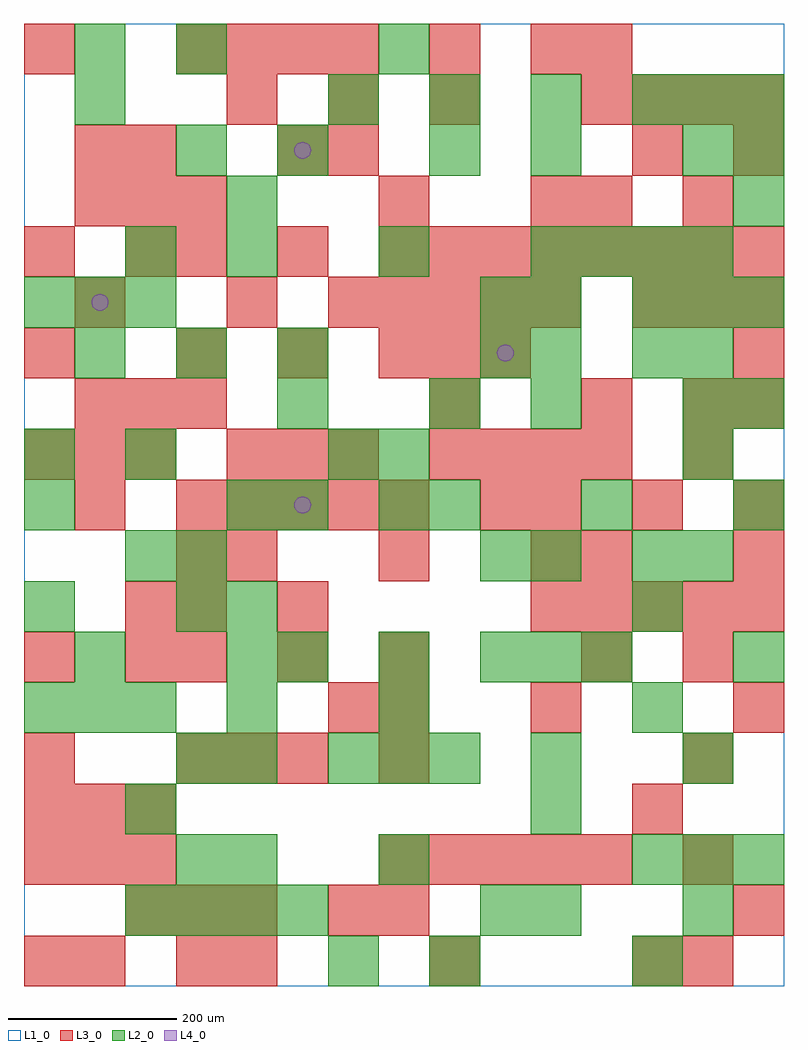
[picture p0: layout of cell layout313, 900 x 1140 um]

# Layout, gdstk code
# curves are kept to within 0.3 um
import gdstk
lib = gdstk.Library(unit=1e-6, precision=1e-09)
def R(c, l, rs):  # rectangles x0, y0, x1, y1
    for r in rs: c.add(gdstk.rectangle(r[:2], r[2:], *l))
def A(c, l, x, y, w, h, nx, ny, dx, dy):  # array of equal rectangles
    R(c, l, [(x+i*dx, y+j*dy, x+i*dx+w, y+j*dy+h) for i in range(nx) for j in range(ny)])
def P(c, l, *ps):  # polygons
    for p in ps: c.add(gdstk.Polygon(p, *l))
L1_0 = (1, 0)
L2_0 = (2, 0)
L3_0 = (3, 0)
L4_0 = (4, 0)

layout313 = lib.new_cell('layout313')
R(layout313, L1_0, [(0,0,900,1140)])
A(layout313, L2_0, 120, 60, 60, 60, 4, 1, 60, 0)
A(layout313, L2_0, 720, 120, 60, 60, 3, 2, 60, 660)
A(layout313, L2_0, 240, 240, 60, 60, 1, 4, 0, 60)
A(layout313, L2_0, 360, 240, 60, 60, 3, 1, 60, 0)
A(layout313, L2_0, 600, 240, 60, 60, 1, 3, 0, 120)
A(layout313, L2_0, 0, 300, 60, 60, 3, 2, 60, 480)
A(layout313, L2_0, 300, 360, 60, 60, 3, 1, 120, 0)
A(layout313, L2_0, 480, 540, 60, 60, 3, 1, 180, 0)
A(layout313, L2_0, 780, 600, 60, 60, 1, 3, 0, 60)
A(layout313, L2_0, 600, 660, 60, 60, 1, 3, 0, 60)
A(layout313, L2_0, 60, 720, 60, 60, 3, 1, 120, 0)
A(layout313, L2_0, 240, 840, 60, 60, 3, 1, 180, 0)
A(layout313, L2_0, 660, 840, 60, 60, 3, 1, 60, 0)
A(layout313, L2_0, 840, 900, 60, 60, 1, 3, 0, 60)
A(layout313, L2_0, 360, 1020, 60, 60, 4, 1, 120, 0)
R(layout313, L2_0, [(360,0,420,60), (480,0,540,60), (720,0,780,60), (540,60,600,120), (600,60,660,120), (780,60,840,120), (180,120,240,180), (240,120,300,180), (420,120,480,180), (120,180,180,240), (600,180,660,240), (180,240,240,300), (780,240,840,300), (420,300,480,360), (720,300,780,360), (60,360,120,420), (660,360,720,420), (840,360,900,420), (0,420,60,480), (180,420,240,480), (720,420,780,480), (120,480,180,540), (180,480,240,540), (540,480,600,540), (720,480,780,540), (780,480,840,540), (0,540,60,600), (240,540,300,600), (300,540,360,600), (420,540,480,600), (0,600,60,660), (120,600,180,660), (360,600,420,660), (420,600,480,660), (300,660,360,720), (480,660,540,720), (840,660,900,720), (540,720,600,780), (720,720,780,780), (540,780,600,840), (120,840,180,900), (240,900,300,960), (180,960,240,1020), (300,960,360,1020), (480,960,540,1020), (600,960,660,1020), (780,960,840,1020), (60,1020,120,1080), (780,1020,840,1080), (60,1080,120,1140), (180,1080,240,1140), (420,1080,480,1140)])
A(layout313, L3_0, 240, 0, 60, 60, 3, 1, 240, 0)
A(layout313, L3_0, 780, 0, 60, 60, 1, 4, 0, 120)
A(layout313, L3_0, 120, 60, 60, 60, 3, 1, 60, 0)
A(layout313, L3_0, 0, 120, 60, 60, 3, 2, 60, 60)
A(layout313, L3_0, 420, 120, 60, 60, 5, 1, 60, 0)
A(layout313, L3_0, 180, 240, 60, 60, 3, 1, 60, 0)
A(layout313, L3_0, 840, 300, 60, 60, 1, 3, 0, 180)
A(layout313, L3_0, 180, 360, 60, 60, 3, 2, 120, 360)
A(layout313, L3_0, 600, 420, 60, 60, 5, 1, 60, 0)
A(layout313, L3_0, 240, 480, 60, 60, 3, 1, 180, 0)
A(layout313, L3_0, 180, 540, 60, 60, 5, 1, 60, 0)
A(layout313, L3_0, 600, 540, 60, 60, 3, 1, 120, 0)
A(layout313, L3_0, 0, 600, 60, 60, 3, 1, 60, 0)
A(layout313, L3_0, 240, 600, 60, 60, 3, 1, 60, 0)
A(layout313, L3_0, 480, 600, 60, 60, 4, 1, 60, 0)
A(layout313, L3_0, 60, 660, 60, 60, 3, 2, 60, 240)
A(layout313, L3_0, 360, 780, 60, 60, 5, 1, 60, 0)
A(layout313, L3_0, 720, 780, 60, 60, 3, 1, 60, 0)
A(layout313, L3_0, 180, 840, 60, 60, 3, 1, 120, 0)
A(layout313, L3_0, 480, 840, 60, 60, 7, 1, 60, 0)
A(layout313, L3_0, 240, 1020, 60, 60, 3, 1, 120, 0)
A(layout313, L3_0, 660, 1020, 60, 60, 4, 1, 60, 0)
A(layout313, L3_0, 180, 1080, 60, 60, 4, 1, 60, 0)
R(layout313, L3_0, [(0,0,60,60), (60,0,120,60), (180,0,240,60), (360,60,420,120), (420,60,480,120), (840,60,900,120), (720,180,780,240), (0,240,60,300), (420,240,480,300), (360,300,420,360), (420,300,480,360), (600,300,660,360), (0,360,60,420), (120,360,180,420), (660,360,720,420), (120,420,180,480), (180,420,240,480), (300,420,360,480), (180,480,240,540), (660,480,720,540), (60,540,120,600), (540,540,600,600), (780,600,840,660), (480,660,540,720), (660,660,720,720), (780,660,840,720), (0,720,60,780), (480,720,540,780), (540,720,600,780), (840,720,900,780), (60,780,120,840), (240,780,300,840), (0,840,60,900), (120,840,180,900), (420,900,480,960), (600,900,660,960), (660,900,720,960), (780,900,840,960), (60,960,120,1020), (120,960,180,1020), (300,960,360,1020), (360,960,420,1020), (720,960,780,1020), (840,960,900,1020), (0,1080,60,1140), (480,1080,540,1140), (600,1080,660,1140), (660,1080,720,1140)])
P(layout313, L4_0, [(100,810),(99.239,813.827),(97.071,817.071),(93.827,819.239),(90,820),(86.173,819.239),(82.929,817.071),(80.761,813.827),(80,810),(80.761,806.173),(82.929,802.929),(86.173,800.761),(90,800),(93.827,800.761),(97.071,802.929),(99.239,806.173)],
  [(340,570),(339.239,573.827),(337.071,577.071),(333.827,579.239),(330,580),(326.173,579.239),(322.929,577.071),(320.761,573.827),(320,570),(320.761,566.173),(322.929,562.929),(326.173,560.761),(330,560),(333.827,560.761),(337.071,562.929),(339.239,566.173)],
  [(340,990),(339.239,993.827),(337.071,997.071),(333.827,999.239),(330,1000),(326.173,999.239),(322.929,997.071),(320.761,993.827),(320,990),(320.761,986.173),(322.929,982.929),(326.173,980.761),(330,980),(333.827,980.761),(337.071,982.929),(339.239,986.173)],
  [(580,750),(579.239,753.827),(577.071,757.071),(573.827,759.239),(570,760),(566.173,759.239),(562.929,757.071),(560.761,753.827),(560,750),(560.761,746.173),(562.929,742.929),(566.173,740.761),(570,740),(573.827,740.761),(577.071,742.929),(579.239,746.173)])

lib.write_gds('layout313.gds')
